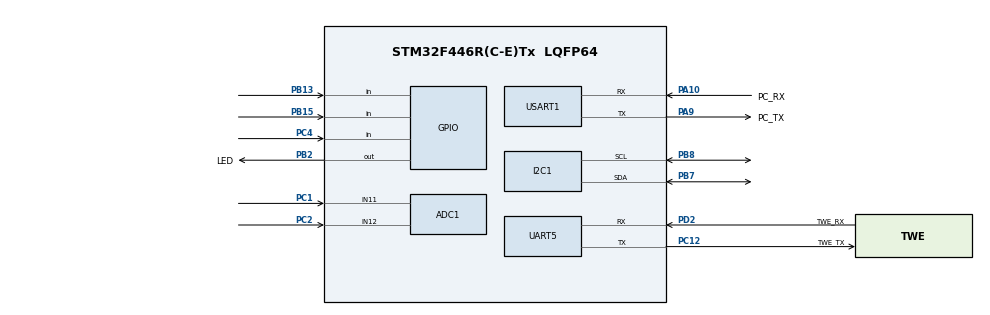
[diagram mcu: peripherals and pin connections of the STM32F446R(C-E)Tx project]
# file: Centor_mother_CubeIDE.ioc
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ADC1.Channel-0\#ChannelRegularConversion=ADC_CHANNEL_11
ADC1.Channel-1\#ChannelRegularConversion=ADC_CHANNEL_12
ADC1.DiscontinuousConvMode=ENABLE
ADC1.EOCSelection=ADC_EOC_SEQ_CONV
ADC1.NbrOfConversion=2
ADC1.NbrOfConversionFlag=1
ADC1.Rank-0\#ChannelRegularConversion=1
ADC1.Rank-1\#ChannelRegularConversion=2
ADC1.SamplingTime-0\#ChannelRegularConversion=ADC_SAMPLETIME_15CYCLES
ADC1.SamplingTime-1\#ChannelRegularConversion=ADC_SAMPLETIME_15CYCLES
ADC1.master=1
Dma.Request0=USART1_RX
Dma.USART1_RX.0.Direction=DMA_PERIPH_TO_MEMORY
Dma.USART1_RX.0.FIFOMode=DMA_FIFOMODE_DISABLE
Dma.USART1_RX.0.Instance=DMA2_Stream2
Dma.USART1_RX.0.MemDataAlignment=DMA_MDATAALIGN_BYTE
Dma.USART1_RX.0.MemInc=DMA_MINC_ENABLE
Dma.USART1_RX.0.Mode=DMA_CIRCULAR
Dma.USART1_RX.0.PeriphDataAlignment=DMA_PDATAALIGN_BYTE
Dma.USART1_RX.0.PeriphInc=DMA_PINC_DISABLE
Dma.USART1_RX.0.Priority=DMA_PRIORITY_LOW
Mcu.Family=STM32F4
Mcu.Name=STM32F446R(C-E)Tx
Mcu.Package=LQFP64
NVIC.DMA2_Stream2_IRQn=true\:0\:0\:false\:false\:true\:false\:true\:true
NVIC.PriorityGroup=NVIC_PRIORITYGROUP_4
PA10.GPIO_Label=PC_RX
PA10.Mode=Asynchronous
PA10.Signal=USART1_RX
PA9.GPIO_Label=PC_TX
PA9.Mode=Asynchronous
PA9.Signal=USART1_TX
PB13.Signal=GPIO_Input
PB15.Signal=GPIO_Input
PB2.GPIO_Label=LED
PB2.Signal=GPIO_Output
PB7.Mode=I2C
PB7.Signal=I2C1_SDA
PB8.Mode=I2C
PB8.Signal=I2C1_SCL
PC1.Signal=ADCx_IN11
PC12.GPIO_Label=TWE_TX
PC12.Mode=Asynchronous
PC12.Signal=UART5_TX
PC2.Signal=ADCx_IN12
PC4.Signal=GPIO_Input
PD2.GPIO_Label=TWE_RX
PD2.Mode=Asynchronous
PD2.Signal=UART5_RX
ProjectManager.HeapSize=0x200
ProjectManager.StackSize=0x400
ProjectManager.TargetToolchain=STM32CubeIDE
RCC.CortexFreq_Value=16000000
RCC.USBFreq_Value=96000000
RCC.VCOOutputFreq_Value=192000000
SH.ADCx_IN11.0=ADC1_IN11,IN11
SH.ADCx_IN12.0=ADC1_IN12,IN12
UART5.VirtualMode=Asynchronous
USART1.VirtualMode=VM_ASYNC
board=custom

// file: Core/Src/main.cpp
/* USER CODE BEGIN Header */
/**
  ******************************************************************************
  * @file           : main.c
  * @brief          : Main program body
  ******************************************************************************
  * @attention
  *
  * Copyright (c) 2024 STMicroelectronics.
  * All rights reserved.
  *
  * This software is licensed under terms that can be found in the LICENSE file
  * in the root directory of this software component.
  * If no LICENSE file comes with this software, it is provided AS-IS.
  *
  ******************************************************************************
  */
/* USER CODE END Header */
#include "main.h"

/* USER CODE BEGIN Includes */

#include <math.h>
#include "joystick.h"

#include "SSD1306.h"
#include "fonts.h"
#include <stdio.h>

/* USER CODE END Includes */

ADC_HandleTypeDef hadc1;

I2C_HandleTypeDef hi2c1;

UART_HandleTypeDef huart5;
UART_HandleTypeDef huart1;
DMA_HandleTypeDef hdma_usart1_rx;

/* USER CODE BEGIN PV */
uint8_t p_wrtptA=0;
uint8_t p_rdptA=0;
uint16_t stop_counterA=0;
uint16_t error_counterA=0;

uint8_t rxBuf[128];
uint8_t Data[4];

uint16_t adc_value[2];
int16_t stick[2];
int16_t theta=0;
uint8_t radius=0;

uint8_t mode=0;

/* USER CODE END PV */

void SystemClock_Config(void);
static void MX_GPIO_Init(void);
static void MX_DMA_Init(void);
static void MX_USART1_UART_Init(void);
static void MX_UART5_Init(void);
static void MX_ADC1_Init(void);
static void MX_I2C1_Init(void);
/* USER CODE BEGIN PFP */
void readBuf(UART_HandleTypeDef* uart, uint8_t* buf, int buf_size, uint8_t* data, int data_size, uint8_t id, uint8_t* p_wrtpt, uint8_t* p_rdpt, uint16_t* stop_counter, uint16_t* error_counter, uint8_t go_back);
/* USER CODE END PFP */

int main(void)
{

  /* MCU Configuration--------------------------------------------------------*/

  /* Reset of all peripherals, Initializes the Flash interface and the Systick. */
  HAL_Init();

  /* Configure the system clock */
  SystemClock_Config();

  /* Initialize all configured peripherals */
  MX_GPIO_Init();
  MX_DMA_Init();
  MX_USART1_UART_Init();
  MX_UART5_Init();
  MX_ADC1_Init();
  MX_I2C1_Init();
  /* USER CODE BEGIN 2 */
  HAL_UART_Receive_DMA(&huart1,rxBuf,128);
  JOYSTICK joystick(&hadc1);
  /* USER CODE END 2 */

  /* Infinite loop */
  /* USER CODE BEGIN WHILE */
	ssd1306_Init(&hi2c1);
	HAL_Delay(1000);
	ssd1306_Fill(Black);
	ssd1306_UpdateScreen(&hi2c1);

	HAL_Delay(100);
	ssd1306_SetCursor(7,13);
	ssd1306_WriteString("Tomoshibi",Font_11x18,White);
	ssd1306_SetCursor(12,33);
	ssd1306_WriteString("Technology",Font_11x18,White);

	ssd1306_UpdateScreen(&hi2c1);

	HAL_Delay(1000);

  while (1)
  {
	readBuf(&huart1, rxBuf, 128, Data, 4, 0, &p_wrtptA, &p_rdptA, &stop_counterA, &error_counterA, 30);

	joystick.sampling();
	joystick.get_adcValue(adc_value);

	for(int n=0; n<2; n++){
		if(2000<adc_value[n] && adc_value[n]<2096){
			stick[n] = 0;
		}else{
			stick[n] = adc_value[n] - 2048;
		}
	}
	theta = (atan2(stick[1], stick[0])/3.1415*180.0+180.0) * 255/360;
	if(stick[0]==0 && stick[1]==0)theta=0;
	if(theta == 250)theta=251;
	radius = sqrt(stick[0]*stick[0] + stick[1]*stick[1]) * 250/2600;
	if(radius>255 || radius==250 )radius = 255;

	uint8_t vol = HAL_GPIO_ReadPin (GPIOC, GPIO_PIN_4);
	mode = vol<<2 | HAL_GPIO_ReadPin (GPIOB, GPIO_PIN_15)<<1 | HAL_GPIO_ReadPin (GPIOB, GPIO_PIN_13);
    /* USER CODE END WHILE */

    /* USER CODE BEGIN 3 */

	char buf[32];
	ssd1306_Fill(Black);

	ssd1306_SetCursor(0,0);
    snprintf(buf, sizeof(buf), "t:%3d r:%3d", theta, radius);
	ssd1306_WriteString(buf,Font_11x18,White);

	ssd1306_SetCursor(0,20);
//    snprintf(buf, sizeof(buf), "vol:%d", vol);
//	ssd1306_WriteString(buf,Font_11x18,White);
	if(vol==0){
		ssd1306_WriteString("vol:Display",Font_11x18,White);
	}else{
		ssd1306_WriteString("vol:Arm",Font_11x18,White);
	}

	ssd1306_SetCursor(0,40);
    snprintf(buf, sizeof(buf), "mode:%d", mode);
	ssd1306_WriteString(buf,Font_11x18,White);

	ssd1306_UpdateScreen(&hi2c1);

	uint8_t send_array[5] = {250,Data[3],theta,radius,mode};//start, h, x, y, mode
	HAL_UART_Transmit(&huart5, send_array, 5, 1);
  }
  /* USER CODE END 3 */
}

void SystemClock_Config(void)
{
  RCC_OscInitTypeDef RCC_OscInitStruct = {0};
  RCC_ClkInitTypeDef RCC_ClkInitStruct = {0};

  /** Configure the main internal regulator output voltage
  */
  __HAL_RCC_PWR_CLK_ENABLE();
  __HAL_PWR_VOLTAGESCALING_CONFIG(PWR_REGULATOR_VOLTAGE_SCALE3);

  /** Initializes the RCC Oscillators according to the specified parameters
  * in the RCC_OscInitTypeDef structure.
  */
  RCC_OscInitStruct.OscillatorType = RCC_OSCILLATORTYPE_HSI;
  RCC_OscInitStruct.HSIState = RCC_HSI_ON;
  RCC_OscInitStruct.HSICalibrationValue = RCC_HSICALIBRATION_DEFAULT;
  RCC_OscInitStruct.PLL.PLLState = RCC_PLL_NONE;
  if (HAL_RCC_OscConfig(&RCC_OscInitStruct) != HAL_OK)
  {
    Error_Handler();
  }

  /** Initializes the CPU, AHB and APB buses clocks
  */
  RCC_ClkInitStruct.ClockType = RCC_CLOCKTYPE_HCLK|RCC_CLOCKTYPE_SYSCLK
                              |RCC_CLOCKTYPE_PCLK1|RCC_CLOCKTYPE_PCLK2;
  RCC_ClkInitStruct.SYSCLKSource = RCC_SYSCLKSOURCE_HSI;
  RCC_ClkInitStruct.AHBCLKDivider = RCC_SYSCLK_DIV1;
  RCC_ClkInitStruct.APB1CLKDivider = RCC_HCLK_DIV1;
  RCC_ClkInitStruct.APB2CLKDivider = RCC_HCLK_DIV1;

  if (HAL_RCC_ClockConfig(&RCC_ClkInitStruct, FLASH_LATENCY_0) != HAL_OK)
  {
    Error_Handler();
  }
}

static void MX_ADC1_Init(void)
{

  ADC_ChannelConfTypeDef sConfig = {0};

  /** Configure the global features of the ADC (Clock, Resolution, Data Alignment and number of conversion)
  */
  hadc1.Instance = ADC1;
  hadc1.Init.ClockPrescaler = ADC_CLOCK_SYNC_PCLK_DIV2;
  hadc1.Init.Resolution = ADC_RESOLUTION_12B;
  hadc1.Init.ScanConvMode = ENABLE;
  hadc1.Init.ContinuousConvMode = DISABLE;
  hadc1.Init.DiscontinuousConvMode = ENABLE;
  hadc1.Init.NbrOfDiscConversion = 1;
  hadc1.Init.ExternalTrigConvEdge = ADC_EXTERNALTRIGCONVEDGE_NONE;
  hadc1.Init.ExternalTrigConv = ADC_SOFTWARE_START;
  hadc1.Init.DataAlign = ADC_DATAALIGN_RIGHT;
  hadc1.Init.NbrOfConversion = 2;
  hadc1.Init.DMAContinuousRequests = DISABLE;
  hadc1.Init.EOCSelection = ADC_EOC_SEQ_CONV;
  if (HAL_ADC_Init(&hadc1) != HAL_OK)
  {
    Error_Handler();
  }

  /** Configure for the selected ADC regular channel its corresponding rank in the sequencer and its sample time.
  */
  sConfig.Channel = ADC_CHANNEL_11;
  sConfig.Rank = 1;
  sConfig.SamplingTime = ADC_SAMPLETIME_15CYCLES;
  if (HAL_ADC_ConfigChannel(&hadc1, &sConfig) != HAL_OK)
  {
    Error_Handler();
  }

  /** Configure for the selected ADC regular channel its corresponding rank in the sequencer and its sample time.
  */
  sConfig.Channel = ADC_CHANNEL_12;
  sConfig.Rank = 2;
  if (HAL_ADC_ConfigChannel(&hadc1, &sConfig) != HAL_OK)
  {
    Error_Handler();
  }

}

static void MX_I2C1_Init(void)
{

  hi2c1.Instance = I2C1;
  hi2c1.Init.ClockSpeed = 100000;
  hi2c1.Init.DutyCycle = I2C_DUTYCYCLE_2;
  hi2c1.Init.OwnAddress1 = 0;
  hi2c1.Init.AddressingMode = I2C_ADDRESSINGMODE_7BIT;
  hi2c1.Init.DualAddressMode = I2C_DUALADDRESS_DISABLE;
  hi2c1.Init.OwnAddress2 = 0;
  hi2c1.Init.GeneralCallMode = I2C_GENERALCALL_DISABLE;
  hi2c1.Init.NoStretchMode = I2C_NOSTRETCH_DISABLE;
  if (HAL_I2C_Init(&hi2c1) != HAL_OK)
  {
    Error_Handler();
  }

}

static void MX_UART5_Init(void)
{

  huart5.Instance = UART5;
  huart5.Init.BaudRate = 115200;
  huart5.Init.WordLength = UART_WORDLENGTH_8B;
  huart5.Init.StopBits = UART_STOPBITS_1;
  huart5.Init.Parity = UART_PARITY_NONE;
  huart5.Init.Mode = UART_MODE_TX_RX;
  huart5.Init.HwFlowCtl = UART_HWCONTROL_NONE;
  huart5.Init.OverSampling = UART_OVERSAMPLING_16;
  if (HAL_UART_Init(&huart5) != HAL_OK)
  {
    Error_Handler();
  }

}

static void MX_USART1_UART_Init(void)
{

  huart1.Instance = USART1;
  huart1.Init.BaudRate = 115200;
  huart1.Init.WordLength = UART_WORDLENGTH_8B;
  huart1.Init.StopBits = UART_STOPBITS_1;
  huart1.Init.Parity = UART_PARITY_NONE;
  huart1.Init.Mode = UART_MODE_TX_RX;
  huart1.Init.HwFlowCtl = UART_HWCONTROL_NONE;
  huart1.Init.OverSampling = UART_OVERSAMPLING_16;
  if (HAL_UART_Init(&huart1) != HAL_OK)
  {
    Error_Handler();
  }

}

static void MX_DMA_Init(void)
{

  /* DMA controller clock enable */
  __HAL_RCC_DMA2_CLK_ENABLE();

  /* DMA interrupt init */
  /* DMA2_Stream2_IRQn interrupt configuration */
  HAL_NVIC_SetPriority(DMA2_Stream2_IRQn, 0, 0);
  HAL_NVIC_EnableIRQ(DMA2_Stream2_IRQn);

}

static void MX_GPIO_Init(void)
{
  GPIO_InitTypeDef GPIO_InitStruct = {0};

  /* GPIO Ports Clock Enable */
  __HAL_RCC_GPIOC_CLK_ENABLE();
  __HAL_RCC_GPIOB_CLK_ENABLE();
  __HAL_RCC_GPIOA_CLK_ENABLE();
  __HAL_RCC_GPIOD_CLK_ENABLE();

  /*Configure GPIO pin Output Level */
  HAL_GPIO_WritePin(LED_GPIO_Port, LED_Pin, GPIO_PIN_RESET);

  /*Configure GPIO pin : PC4 */
  GPIO_InitStruct.Pin = GPIO_PIN_4;
  GPIO_InitStruct.Mode = GPIO_MODE_INPUT;
  GPIO_InitStruct.Pull = GPIO_NOPULL;
  HAL_GPIO_Init(GPIOC, &GPIO_InitStruct);

  /*Configure GPIO pin : LED_Pin */
  GPIO_InitStruct.Pin = LED_Pin;
  GPIO_InitStruct.Mode = GPIO_MODE_OUTPUT_PP;
  GPIO_InitStruct.Pull = GPIO_NOPULL;
  GPIO_InitStruct.Speed = GPIO_SPEED_FREQ_LOW;
  HAL_GPIO_Init(LED_GPIO_Port, &GPIO_InitStruct);

  /*Configure GPIO pins : PB13 PB15 */
  GPIO_InitStruct.Pin = GPIO_PIN_13|GPIO_PIN_15;
  GPIO_InitStruct.Mode = GPIO_MODE_INPUT;
  GPIO_InitStruct.Pull = GPIO_NOPULL;
  HAL_GPIO_Init(GPIOB, &GPIO_InitStruct);

}

/* USER CODE BEGIN 4 */

void readBuf(UART_HandleTypeDef* uart, uint8_t* buf, int buf_size, uint8_t* data, int data_size, uint8_t id, uint8_t* p_wrtpt, uint8_t* p_rdpt, uint16_t* stop_counter, uint16_t* error_counter, uint8_t go_back){
	int wrt_pt = uart->hdmarx->Instance->NDTR;
	wrt_pt= buf_size - wrt_pt;
	int rd_pt;

	if(wrt_pt != *p_rdpt){//wrtに追??��?��?付かれてな??��?��?
		if(buf[*p_rdpt] == 255){//p_rdptが書き換えられてな??��?��?=追??��?��?越されてな??��?��?
			if(wrt_pt != *p_wrtpt){//wrt_ptが�???��?��んだ=受信した
//正常
				*stop_counter = 0;
				rd_pt = *p_rdpt;
			}else{//wrt_ptが�???��?��んでな??��?��?=受信してな??��?��?
//受信してな??��?��?
				(*stop_counter)++;
				rd_pt = *p_rdpt;
			}
		}else{//p_rdptが書き換えられた=追??��?��?越された
//追??��?��?越された
			(*error_counter)++;
			rd_pt = wrt_pt - go_back;
				if(rd_pt < 0){rd_pt += buf_size;}
		}
	}else{//wrtに追??��?��?付かれた,追??��?��?付い??��?��?
		int front_pt = wrt_pt + 1;
			if(front_pt>buf_size-1){front_pt -= buf_size;}

		if(buf[front_pt] == 255){
//追??��?��?付い??��?��?
			(*stop_counter)++;
			rd_pt = *p_rdpt;
		}else{
//追??��?��?付かれた
			(*error_counter)++;
			rd_pt = wrt_pt - go_back;
				if(rd_pt < 0){rd_pt += buf_size;}
		}
	}

	if(*stop_counter > 65500){*stop_counter = 65500;}
	if(*error_counter > 65500){*error_counter = 65500;}

	while(1){
		int dif_pt = wrt_pt - rd_pt;
			if(dif_pt < 0){dif_pt += buf_size;}
		if(dif_pt <= go_back/2){break;}

		rd_pt++;
			if(rd_pt>buf_size-1){rd_pt -= buf_size;}

		if(buf[rd_pt] == 250+id){
			int goal_rdpt = rd_pt + data_size;//data_sizeに0はとれな??��?��?,25以上も??��?��???��?��?

				if(goal_rdpt>buf_size-1){goal_rdpt -= buf_size;}
			int temp_rdpt = rd_pt;

			buf[rd_pt] = 255;

			for(int i=0; i<data_size; i++){
				temp_rdpt += 1;
					if(temp_rdpt>buf_size-1){temp_rdpt -= buf_size;}

				data[i] = buf[temp_rdpt];
				buf[temp_rdpt] = 255;
			}

			rd_pt = temp_rdpt;

			dif_pt = wrt_pt - rd_pt;
				if(dif_pt < 0){dif_pt += buf_size;}
			if(dif_pt >= buf_size/2){}
			else{break;}
		}else{buf[rd_pt] = 255;}
	}

	*p_rdpt = rd_pt;
//	*p_wrtpt = buf_size - (uart->hdmarx->Instance->CNDTR);
	*p_wrtpt = wrt_pt;
}

/* USER CODE END 4 */

void Error_Handler(void)
{
  __disable_irq();
  while (1)
  {
  }
}
